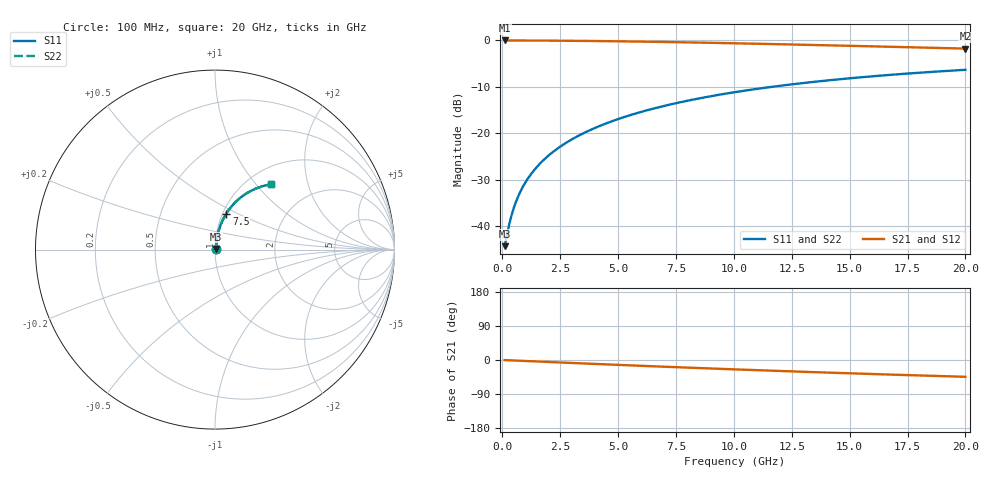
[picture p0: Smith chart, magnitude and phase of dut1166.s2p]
! Touchstone file exported from HFSS 2024.1.0
!  File:  C:/UserFiles/LocalFiles/RDL_TSV_Batchsim/temp_RDL_top_1166_1780048711.aedt
!  Generated:  06:00:45 PM May 29, 2026
!  Design:  RDL_top
!  Project:  temp_RDL_top_1166_1780048711
!  Setup:  Setup1
!  Solution:  Sweep
! Variables:
!  dtsv = 10.80580581um
!  hbump = 3um
!  htsv = 71.57um
!  ldown = 100um
!  lrdl = 575.75um
!  p = 40
!  p1 = 48.49um
!  rhole = 1um
!  t = 450um
!  tdown = 3.915915916um
!  trdl = 2.92um
!  wdown = 15.38538539um
!  wrdl = 13.34um
# GHz S MA R 50.000000
! Terminal data exported
! Port[1] = Box2_T1
! Port[2] = Box2_T2
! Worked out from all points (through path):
!   200 points, 100 MHz to 20 GHz, reference 50 ohm
!   highest |S21| = -0.05 dB at 100 MHz (marker M1); lowest = -1.8 dB at 20 GHz (marker M2)
!   group delay of S21, straight-line fit = 6.16 ps
!   lowest |S11| = -44.3 dB at 100 MHz (marker M3), VSWR 1.01, Z = 50.5 + j0.302 ohm
!   |S11| at or under -10 dB: start of sweep to 11.68 GHz
!   |S22| runs from -44.3 to -6.4 dB; largest |S21 - S12| = 4.6e-15
!   S11 on the Smith chart (normalised r, x): 100 MHz: 1.01, +0.01; 7.5 GHz: 1.04, +0.44; 20 GHz: 1.28, +1.21
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0.1  0.006106 29.3  0.9947 -0.3  0.9947 -0.3  0.006106 29.3
! Gamma 0 0 0 0
! Port Impedance 50 0 50 0
0.3  0.01049 58.0  0.9945 -0.8  0.9945 -0.8  0.01049 58.0
0.4  0.01313 64.1  0.9943 -1.1  0.9943 -1.1  0.01313 64.1
0.5  0.01583 68.0  0.9941 -1.3  0.9941 -1.3  0.01583 68.0
0.6  0.01858 70.7  0.9939 -1.6  0.9939 -1.6  0.01858 70.7
0.7  0.02133 72.6  0.9937 -1.9  0.9937 -1.9  0.02133 72.6
0.9  0.02687 75.3  0.9933 -2.4  0.9933 -2.4  0.02687 75.3
1.2  0.03522 77.5  0.9927 -3.2  0.9927 -3.2  0.03522 77.5
1.4  0.04081 78.4  0.9922 -3.7  0.9922 -3.7  0.04081 78.4
1.7  0.04922 79.2  0.9914 -4.5  0.9914 -4.5  0.04922 79.2
2.2  0.06328 79.8  0.9897 -5.8  0.9897 -5.8  0.06328 79.8
2.8  0.0802 79.7  0.9873 -7.3  0.9873 -7.3  0.0802 79.7
3.5  0.09993 79.2  0.9839 -9.1  0.9839 -9.1  0.09993 79.2
4.2  0.1196 78.3  0.9798 -10.9  0.9798 -10.9  0.1196 78.3
5  0.142 77.1  0.9744 -12.9  0.9744 -12.9  0.142 77.1
5.9  0.167 75.6  0.9675 -15.1  0.9675 -15.1  0.167 75.6
6.8  0.1916 73.9  0.9598 -17.3  0.9598 -17.3  0.1916 73.9
7.5  0.2105 72.6  0.9535 -19.0  0.9535 -19.0  0.2105 72.6
10.1  0.2779 67.5  0.9271 -24.9  0.9271 -24.9  0.2779 67.5
13.4  0.3557 61.0  0.8899 -31.9  0.8899 -31.9  0.3557 61.0
16.7  0.4234 54.9  0.8512 -38.4  0.8512 -38.4  0.4234 54.9
20  0.481 49.1  0.8131 -44.3  0.8131 -44.3  0.481 49.1
